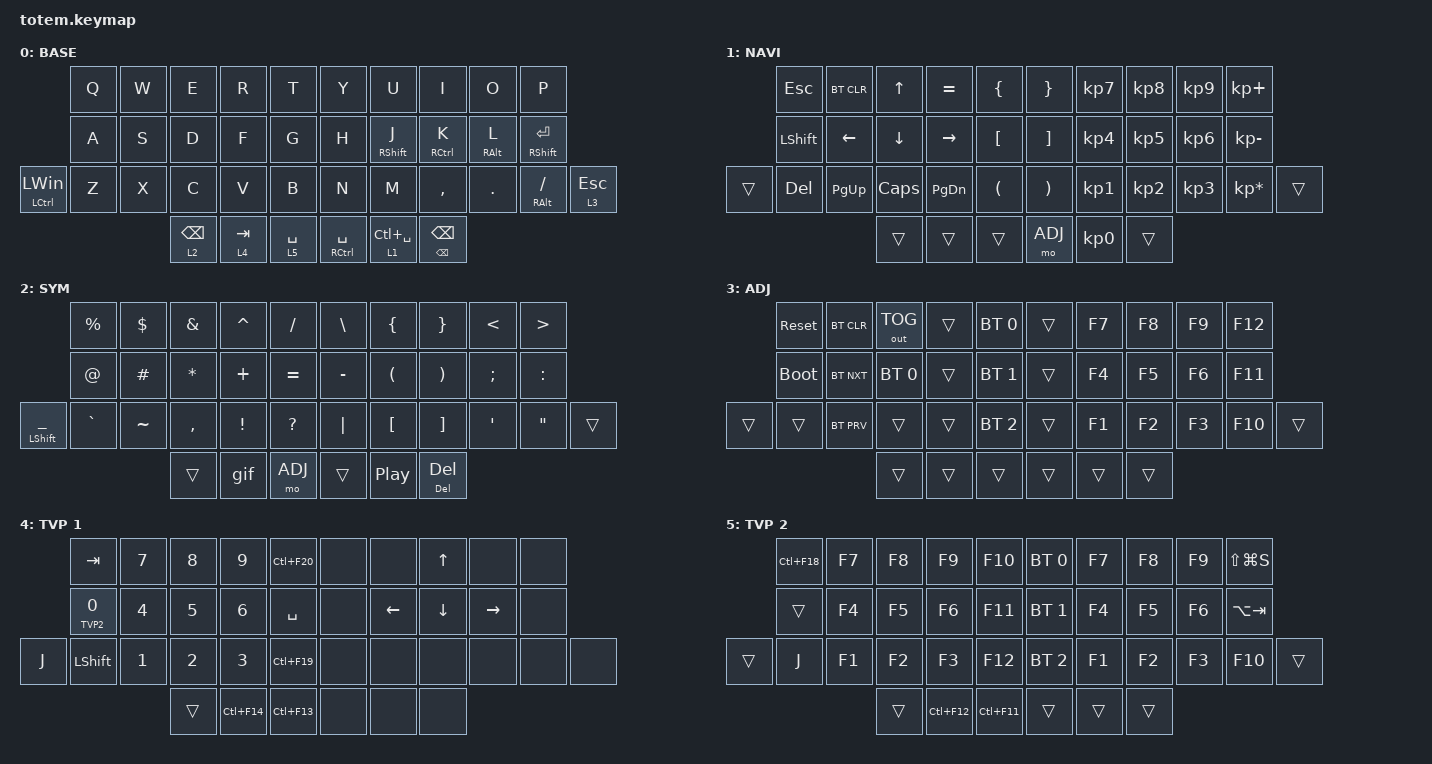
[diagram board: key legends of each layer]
//
//                                                        ▀▀▀▀▀     ▀▀▀▀▀          ▀▀█▀▀
//                                                        ▄▀▀▀▄  ▄  ▄▀▀▀▄  ▄  ▄▀▀▀▄  █  ▄▀▀▀▄
//                                                        █   █  █  █   █  █  █   █  █  █   █
//                                                         ▀▀▀   █   ▀▀▀   █   ▀▀▀   ▀   ▀▀▀
//                                                               █      ▄▄▄█▄▄▄    █   █  
//                                                               ▀      █  █  █     █▄█
//                                                             ▀▀▀▀▀    █  █  █      ▀
//                                                                      ▀  ▀  ▀
//
// ▄▄▄▄▄▄▄▄▄▄▄▄▄▄▄▄▄▄▄▄▄▄▄▄▄▄▄▄▄▄▄▄▄▄▄▄▄▄▄▄▄▄▄▄▄▄▄▄▄▄▄▄▄▄▄▄▄▄▄▄▄▄▄▄▄▄▄▄▄▄▄▄▄▄▄▄▄▄▄▄▄▄▄▄▄▄▄▄▄▄▄▄▄▄▄▄▄▄▄▄▄▄▄▄▄▄▄▄▄▄▄▄▄▄▄▄▄▄▄▄▄▄▄▄▄▄▄▄▄▄▄▄▄▄▄▄▄▄▄▄▄▄▄▄▄▄▄▄▄

#include <behaviors.dtsi>
#include <dt-bindings/zmk/bt.h>
#include <dt-bindings/zmk/keys.h>
#include <dt-bindings/zmk/outputs.h>

#define BASE 0
#define NAV  1
#define SYM  2
#define ADJ  3
#define TVP1 4
#define TVP2 5

&mt {
    quick-tap-ms = <100>;
    global-quick-tap;
    flavor = "tap-preferred";
    tapping-term-ms = <170>;
};

/ {
    combos {
        compatible = "zmk,combos";

        combo_esc {
            timeout-ms = <50>;
            key-positions = <0 1>;
            bindings = <&kp ESC>;
        };

        combo_tvp {
            timeout-ms = <100>;
            key-positions = <11 12 13>;
            bindings = <&tog TVP1>;
        };
    };

    macros {
        gif: gif {
            label = "giphy";
            compatible = "zmk,behavior-macro";
            #binding-cells = <0>;
            bindings =
                <&macro_press>,
                <&kp LSHFT>,
                <&macro_tap>,
                <&kp N2>,
                <&macro_release>,
                <&kp LSHFT>,
                <&macro_tap>,
                <&kp G &kp I &kp F>;
        };
    };

    keymap {
        compatible = "zmk,keymap";

        // ▄▄▄▄▄▄▄▄▄▄▄▄▄▄▄▄▄▄▄▄▄▄▄▄▄▄▄▄▄▄▄▄▄▄▄▄▄▄▄▄▄▄▄▄▄▄▄▄▄▄▄▄▄▄▄▄▄▄▄▄▄▄▄▄▄▄▄▄▄▄▄▄▄▄▄▄▄▄▄▄▄▄▄▄▄▄▄▄▄▄▄▄▄▄▄▄▄▄▄▄▄▄▄▄▄▄▄▄▄▄▄▄▄▄▄▄▄▄▄▄▄▄▄▄▄▄▄▄▄▄▄▄▄▄▄▄▄▄▄▄▄▄▄▄▄▄▄▄▄

        base_layer {
            // ┏━━━━━━━━━━━━━━━━━━━━━━━━━━━━━━━━━━━━━━━┓

            label = "BASE";

            // ┗━━━━━━━━━━━━━━━━━━━━━━━━━━━━━━━━━━━━━━━┛
            //             ┏━━━━━━━━━━━┳━━━━━━━━━━━┳━━━━━━━━━━━┳━━━━━━━━━━━┳━━━━━━━━━━━┓   ┏━━━━━━━━━━━┳━━━━━━━━━━━┳━━━━━━━━━━━┳━━━━━━━━━━━┳━━━━━━━━━━━┓
            //             ┃     Q     ┃     W     ┃     F     ┃     P     ┃     G     ┃   ┃     J     ┃     L     ┃     U     ┃     Y     ┃     ;     ┃
            //             ┣━━━━━━━━━━━╋━━━━━━━━━━━╋━━━━━━━━━━━╋━━━━━━━━━━━╋━━━━━━━━━━━┫   ┣━━━━━━━━━━━╋━━━━━━━━━━━╋━━━━━━━━━━━╋━━━━━━━━━━━╋━━━━━━━━━━━┫
            //             ┃     A     ┃     R     ┃     S     ┃     T     ┃     D     ┃   ┃     H     ┃     N     ┃     E     ┃     I     ┃     O     ┃
            // ┏━━━━━━━━━━━╋━━━━━━━━━━━╋━━━━━━━━━━━╋━━━━━━━━━━━╋━━━━━━━━━━━╋━━━━━━━━━━━┫   ┣━━━━━━━━━━━╋━━━━━━━━━━━╋━━━━━━━━━━━╋━━━━━━━━━━━╋━━━━━━━━━━━╋━━━━━━━━━━━┓
            // ┃     Q     ┃     Z     ┃     X     ┃     C     ┃     V     ┃     B     ┃   ┃     K     ┃     M     ┃     ,     ┃     .     ┃     /     ┃     \     ┃
            // ┗━━━━━━━━━━━┻━━━━━━━━━━━┻━━━━━━━━━━━╋━━━━━━━━━━━╋━━━━━━━━━━━╋━━━━━━━━━━━┫   ┣━━━━━━━━━━━╋━━━━━━━━━━━╋━━━━━━━━━━━╋━━━━━━━━━━━┻━━━━━━━━━━━┻━━━━━━━━━━━┛
            //                                     ┃    DEL    ┃    TAB    ┃    SPC    ┃   ┃   ENTER   ┃           ┃   BSPC    ┃
            //                                     ┗━━━━━━━━━━━┻━━━━━━━━━━━┻━━━━━━━━━━━┛   ┗━━━━━━━━━━━┻━━━━━━━━━━━┻━━━━━━━━━━━┛

            bindings = <
                           &kp Q  &kp W  &kp E            &kp R      &kp T          &kp Y            &kp U            &kp I                    &kp O       &kp P
                           &kp A  &kp S  &kp D            &kp F      &kp G          &kp H            &mt RSHFT J      &mt RCTRL K              &mt RALT L  &mt RIGHT_SHIFT ENTER
&mt LEFT_CONTROL LEFT_WIN  &kp Z  &kp X  &kp C            &kp V      &kp B          &kp N            &kp M            &kp COMMA                &kp DOT     &mt RIGHT_ALT SLASH    &lt 3 ESCAPE
                                         &lt 2 BACKSPACE  &lt 4 TAB  &lt 5 SPACE    &mt RCTRL SPACE  &lt 1 LC(SPACE)  &mt BACKSPACE BACKSPACE
            >;
        };

        // ▄▄▄▄▄▄▄▄▄▄▄▄▄▄▄▄▄▄▄▄▄▄▄▄▄▄▄▄▄▄▄▄▄▄▄▄▄▄▄▄▄▄▄▄▄▄▄▄▄▄▄▄▄▄▄▄▄▄▄▄▄▄▄▄▄▄▄▄▄▄▄▄▄▄▄▄▄▄▄▄▄▄▄▄▄▄▄▄▄▄▄▄▄▄▄▄▄▄▄▄▄▄▄▄▄▄▄▄▄▄▄▄▄▄▄▄▄▄▄▄▄▄▄▄▄▄▄▄▄▄▄▄▄▄▄▄▄▄▄▄▄▄▄▄▄▄▄▄▄

        nav_layer {
            // ┏━━━━━━━━━━━━━━━━━━━━━━━━━━━━━━━━━━━━━━━┓

            label = "NAVI";

            // ┗━━━━━━━━━━━━━━━━━━━━━━━━━━━━━━━━━━━━━━━┛
            //             ┏━━━━━━━━━━━┳━━━━━━━━━━━┳━━━━━━━━━━━┳━━━━━━━━━━━┳━━━━━━━━━━━┓   ┏━━━━━━━━━━━┳━━━━━━━━━━━┳━━━━━━━━━━━┳━━━━━━━━━━━┳━━━━━━━━━━━┓
            //             ┃           ┃           ┃     UP    ┃           ┃     {     ┃   ┃     }     ┃     7     ┃     8     ┃     9     ┃     +     ┃
            //             ┣━━━━━━━━━━━╋━━━━━━━━━━━╋━━━━━━━━━━━╋━━━━━━━━━━━╋━━━━━━━━━━━┫   ┣━━━━━━━━━━━╋━━━━━━━━━━━╋━━━━━━━━━━━╋━━━━━━━━━━━╋━━━━━━━━━━━┫
            //             ┃   SHIFT   ┃   LEFT    ┃    DOWN   ┃   RIGHT   ┃     [     ┃   ┃     ]     ┃     4     ┃     5     ┃     6     ┃     -     ┃
            // ┏━━━━━━━━━━━╋━━━━━━━━━━━╋━━━━━━━━━━━╋━━━━━━━━━━━╋━━━━━━━━━━━╋━━━━━━━━━━━┫   ┣━━━━━━━━━━━╋━━━━━━━━━━━╋━━━━━━━━━━━╋━━━━━━━━━━━╋━━━━━━━━━━━╋━━━━━━━━━━━┓
            // ┃           ┃           ┃   P UP    ┃  C LOCK   ┃  P DOWN   ┃     (     ┃   ┃     )     ┃     1     ┃     2     ┃     3     ┃     *     ┃           ┃
            // ┗━━━━━━━━━━━┻━━━━━━━━━━━┻━━━━━━━━━━━╋━━━━━━━━━━━╋━━━━━━━━━━━╋━━━━━━━━━━━┫   ┣━━━━━━━━━━━╋━━━━━━━━━━━╋━━━━━━━━━━━╋━━━━━━━━━━━┻━━━━━━━━━━━┻━━━━━━━━━━━┛
            //                                     ┃           ┃    TAB    ┃    SPC    ┃   ┃    DEL    ┃     0     ┃           ┃
            //                                     ┗━━━━━━━━━━━┻━━━━━━━━━━━┻━━━━━━━━━━━┛   ┗━━━━━━━━━━━┻━━━━━━━━━━━┻━━━━━━━━━━━┛

            bindings = <
        &kp ESC    &bt BT_CLR  &kp UP    &kp EQUAL  &kp LBRC    &kp RBRC  &kp KP_N7  &kp KP_N8  &kp KP_N9  &kp KP_PLUS
        &kp LSHFT  &kp LEFT    &kp DOWN  &kp RIGHT  &kp LBKT    &kp RBKT  &kp KP_N4  &kp KP_N5  &kp KP_N6  &kp KP_MINUS
&trans  &kp DEL    &kp PG_UP   &kp CAPS  &kp PG_DN  &kp LPAR    &kp RPAR  &kp KP_N1  &kp KP_N2  &kp KP_N3  &kp KP_MULTIPLY  &trans
                               &trans    &trans     &trans      &mo ADJ   &kp KP_N0  &trans
            >;
        };

        // ▄▄▄▄▄▄▄▄▄▄▄▄▄▄▄▄▄▄▄▄▄▄▄▄▄▄▄▄▄▄▄▄▄▄▄▄▄▄▄▄▄▄▄▄▄▄▄▄▄▄▄▄▄▄▄▄▄▄▄▄▄▄▄▄▄▄▄▄▄▄▄▄▄▄▄▄▄▄▄▄▄▄▄▄▄▄▄▄▄▄▄▄▄▄▄▄▄▄▄▄▄▄▄▄▄▄▄▄▄▄▄▄▄▄▄▄▄▄▄▄▄▄▄▄▄▄▄▄▄▄▄▄▄▄▄▄▄▄▄▄▄▄▄▄▄▄▄▄▄

        sim_layer {
            // ┏━━━━━━━━━━━━━━━━━━━━━━━━━━━━━━━━━━━━━━━┓

            label = "SYM";

            // ┗━━━━━━━━━━━━━━━━━━━━━━━━━━━━━━━━━━━━━━━┛
            //             ┏━━━━━━━━━━━┳━━━━━━━━━━━┳━━━━━━━━━━━┳━━━━━━━━━━━┳━━━━━━━━━━━┓   ┏━━━━━━━━━━━┳━━━━━━━━━━━┳━━━━━━━━━━━┳━━━━━━━━━━━┳━━━━━━━━━━━┓
            //             ┃     !     ┃     @     ┃     #     ┃     $     ┃     %     ┃   ┃     ˆ     ┃     &     ┃     Ü     ┃     '     ┃     "     ┃
            //             ┣━━━━━━━━━━━╋━━━━━━━━━━━╋━━━━━━━━━━━╋━━━━━━━━━━━╋━━━━━━━━━━━┫   ┣━━━━━━━━━━━╋━━━━━━━━━━━╋━━━━━━━━━━━╋━━━━━━━━━━━╋━━━━━━━━━━━┫
            //             ┃     Ä     ┃           ┃    SZ     ┃           ┃           ┃   ┃   MUTE    ┃   YEN     ┃   EURO    ┃  POUND    ┃     Ö     ┃
            // ┏━━━━━━━━━━━╋━━━━━━━━━━━╋━━━━━━━━━━━╋━━━━━━━━━━━╋━━━━━━━━━━━╋━━━━━━━━━━━┫   ┣━━━━━━━━━━━╋━━━━━━━━━━━╋━━━━━━━━━━━╋━━━━━━━━━━━╋━━━━━━━━━━━╋━━━━━━━━━━━┓
            // ┃           ┃  EMAIL1   ┃  EMAIL2   ┃           ┃           ┃           ┃   ┃   VOL-    ┃   VOL+    ┃   LAST    ┃   NEXT    ┃     \     ┃           ┃
            // ┗━━━━━━━━━━━┻━━━━━━━━━━━┻━━━━━━━━━━━╋━━━━━━━━━━━╋━━━━━━━━━━━╋━━━━━━━━━━━┫   ┣━━━━━━━━━━━╋━━━━━━━━━━━╋━━━━━━━━━━━╋━━━━━━━━━━━┻━━━━━━━━━━━┻━━━━━━━━━━━┛
            //                                     ┃           ┃    GIF    ┃    ADJ    ┃   ┃           ┃           ┃           ┃
            //                                     ┗━━━━━━━━━━━┻━━━━━━━━━━━┻━━━━━━━━━━━┛   ┗━━━━━━━━━━━┻━━━━━━━━━━━┻━━━━━━━━━━━┛

            bindings = <
                           &kp PERCENT  &kp DOLLAR  &kp AMPERSAND  &kp CARET        &kp SLASH       &kp BACKSLASH  &kp LEFT_BRACE        &kp RIGHT_BRACE        &kp LESS_THAN  &kp GREATER_THAN
                           &kp AT_SIGN  &kp HASH    &kp ASTERISK   &kp PLUS         &kp EQUAL       &kp MINUS      &kp LEFT_PARENTHESIS  &kp RIGHT_PARENTHESIS  &kp SEMICOLON  &kp COLON
&mt LEFT_SHIFT UNDERSCORE  &kp GRAVE    &kp TILDE   &kp COMMA      &kp EXCLAMATION  &kp QUESTION    &kp PIPE       &kp LEFT_BRACKET      &kp RIGHT_BRACKET      &kp SQT        &kp DOUBLE_QUOTES  &trans
                                                    &trans         &gif             &mo ADJ         &trans         &kp C_PP              &mt DELETE DEL
            >;
        };

        // ▄▄▄▄▄▄▄▄▄▄▄▄▄▄▄▄▄▄▄▄▄▄▄▄▄▄▄▄▄▄▄▄▄▄▄▄▄▄▄▄▄▄▄▄▄▄▄▄▄▄▄▄▄▄▄▄▄▄▄▄▄▄▄▄▄▄▄▄▄▄▄▄▄▄▄▄▄▄▄▄▄▄▄▄▄▄▄▄▄▄▄▄▄▄▄▄▄▄▄▄▄▄▄▄▄▄▄▄▄▄▄▄▄▄▄▄▄▄▄▄▄▄▄▄▄▄▄▄▄▄▄▄▄▄▄▄▄▄▄▄▄▄▄▄▄▄▄▄▄

        adjust_layer {
            // ┏━━━━━━━━━━━━━━━━━━━━━━━━━━━━━━━━━━━━━━━┓

            label = "ADJ";

            // ┗━━━━━━━━━━━━━━━━━━━━━━━━━━━━━━━━━━━━━━━┛
            //             ┏━━━━━━━━━━━┳━━━━━━━━━━━┳━━━━━━━━━━━┳━━━━━━━━━━━┳━━━━━━━━━━━┓   ┏━━━━━━━━━━━┳━━━━━━━━━━━┳━━━━━━━━━━━┳━━━━━━━━━━━┳━━━━━━━━━━━┓
            //             ┃   RESET   ┃ BT CLEAR  ┃  OUT TOG  ┃           ┃           ┃   ┃           ┃    F7     ┃    F8     ┃    F9     ┃    F12    ┃
            //             ┣━━━━━━━━━━━╋━━━━━━━━━━━╋━━━━━━━━━━━╋━━━━━━━━━━━╋━━━━━━━━━━━┫   ┣━━━━━━━━━━━╋━━━━━━━━━━━╋━━━━━━━━━━━╋━━━━━━━━━━━╋━━━━━━━━━━━┫
            //             ┃ BOOTLOAD  ┃ BT NEXT   ┃           ┃           ┃           ┃   ┃           ┃    F4     ┃    F5     ┃    F6     ┃    F11    ┃
            // ┏━━━━━━━━━━━╋━━━━━━━━━━━╋━━━━━━━━━━━╋━━━━━━━━━━━╋━━━━━━━━━━━╋━━━━━━━━━━━┫   ┣━━━━━━━━━━━╋━━━━━━━━━━━╋━━━━━━━━━━━╋━━━━━━━━━━━╋━━━━━━━━━━━╋━━━━━━━━━━━┓
            // ┃           ┃           ┃ BT PREV   ┃           ┃           ┃           ┃   ┃           ┃    F1     ┃    F2     ┃    F3     ┃    F10    ┃           ┃
            // ┗━━━━━━━━━━━┻━━━━━━━━━━━┻━━━━━━━━━━━╋━━━━━━━━━━━╋━━━━━━━━━━━╋━━━━━━━━━━━┫   ┣━━━━━━━━━━━╋━━━━━━━━━━━╋━━━━━━━━━━━╋━━━━━━━━━━━┻━━━━━━━━━━━┻━━━━━━━━━━━┛
            //                                     ┃           ┃           ┃           ┃   ┃           ┃           ┃           ┃
            //                                     ┗━━━━━━━━━━━┻━━━━━━━━━━━┻━━━━━━━━━━━┛   ┗━━━━━━━━━━━┻━━━━━━━━━━━┻━━━━━━━━━━━┛

            bindings = <
        &sys_reset   &bt BT_CLR  &out OUT_TOG  &trans  &bt BT_SEL 0    &trans  &kp F7  &kp F8  &kp F9  &kp F12
        &bootloader  &bt BT_NXT  &bt BT_SEL 0  &trans  &bt BT_SEL 1    &trans  &kp F4  &kp F5  &kp F6  &kp F11
&trans  &trans       &bt BT_PRV  &trans        &trans  &bt BT_SEL 2    &trans  &kp F1  &kp F2  &kp F3  &kp F10  &trans
                                 &trans        &trans  &trans          &trans  &trans  &trans
            >;
        };

        // ▄▄▄▄▄▄▄▄▄▄▄▄▄▄▄▄▄▄▄▄▄▄▄▄▄▄▄▄▄▄▄▄▄▄▄▄▄▄▄▄▄▄▄▄▄▄▄▄▄▄▄▄▄▄▄▄▄▄▄▄▄▄▄▄▄▄▄▄▄▄▄▄▄▄▄▄▄▄▄▄▄▄▄▄▄▄▄▄▄▄▄▄▄▄▄▄▄▄▄▄▄▄▄▄▄▄▄▄▄▄▄▄▄▄▄▄▄▄▄▄▄▄▄▄▄▄▄▄▄▄▄▄▄▄▄▄▄▄▄▄▄▄▄▄▄▄▄▄▄

        tvp1_layer {
            // ┏━━━━━━━━━━━━━━━━━━━━━━━━━━━━━━━━━━━━━━━┓

            label = "TVP 1";

            // ┗━━━━━━━━━━━━━━━━━━━━━━━━━━━━━━━━━━━━━━━┛
            //             ┏━━━━━━━━━━━┳━━━━━━━━━━━┳━━━━━━━━━━━┳━━━━━━━━━━━┳━━━━━━━━━━━┓   ┏━━━━━━━━━━━┳━━━━━━━━━━━┳━━━━━━━━━━━┳━━━━━━━━━━━┳━━━━━━━━━━━┓
            //             ┃ NEXT FILE ┃ MARK IN   ┃ ROTATE    ┃ MARK OUT  ┃ SHOW SNAP ┃   ┃           ┃           ┃           ┃           ┃           ┃
            //             ┣━━━━━━━━━━━╋━━━━━━━━━━━╋━━━━━━━━━━━╋━━━━━━━━━━━╋━━━━━━━━━━━┫   ┣━━━━━━━━━━━╋━━━━━━━━━━━╋━━━━━━━━━━━╋━━━━━━━━━━━╋━━━━━━━━━━━┫
            //             ┃ TVP II    ┃ LEFT      ┃ PAN       ┃ RIGHT     ┃ PLAY/FLIP ┃   ┃           ┃           ┃           ┃           ┃           ┃
            // ┏━━━━━━━━━━━╋━━━━━━━━━━━╋━━━━━━━━━━━╋━━━━━━━━━━━╋━━━━━━━━━━━╋━━━━━━━━━━━┫   ┣━━━━━━━━━━━╋━━━━━━━━━━━╋━━━━━━━━━━━╋━━━━━━━━━━━╋━━━━━━━━━━━╋━━━━━━━━━━━┓
            // ┃ FULLSCR   ┃ SHIFT     ┃ COPY      ┃ DELETE    ┃ PASTE     ┃ IMG MARK  ┃   ┃           ┃           ┃           ┃           ┃           ┃           ┃
            // ┗━━━━━━━━━━━┻━━━━━━━━━━━┻━━━━━━━━━━━╋━━━━━━━━━━━╋━━━━━━━━━━━╋━━━━━━━━━━━┫   ┣━━━━━━━━━━━╋━━━━━━━━━━━╋━━━━━━━━━━━╋━━━━━━━━━━━┻━━━━━━━━━━━┻━━━━━━━━━━━┛
            //                                     ┃           ┃ UNDO/SAVE ┃  SEL/MOV  ┃   ┃           ┃           ┃           ┃
            //                                     ┗━━━━━━━━━━━┻━━━━━━━━━━━┻━━━━━━━━━━━┛   ┗━━━━━━━━━━━┻━━━━━━━━━━━┻━━━━━━━━━━━┛

            bindings = <
       &kp TAB      &kp N7        &kp N8        &kp N9        &kp LC(F20)    &none  &none     &kp UP_ARROW  &none      &none
       &lt TVP2 N0  &kp NUMBER_4  &kp N5        &kp NUMBER_6  &kp SPACE      &none  &kp LEFT  &kp DOWN      &kp RIGHT  &none
&kp J  &kp LSHFT    &kp N1        &kp NUMBER_2  &kp NUMBER_3  &kp LC(F19)    &none  &none     &none         &none      &none  &none
                                  &trans        &kp LC(F14)   &kp LC(F13)    &none  &none     &none
            >;
        };

        // ▄▄▄▄▄▄▄▄▄▄▄▄▄▄▄▄▄▄▄▄▄▄▄▄▄▄▄▄▄▄▄▄▄▄▄▄▄▄▄▄▄▄▄▄▄▄▄▄▄▄▄▄▄▄▄▄▄▄▄▄▄▄▄▄▄▄▄▄▄▄▄▄▄▄▄▄▄▄▄▄▄▄▄▄▄▄▄▄▄▄▄▄▄▄▄▄▄▄▄▄▄▄▄▄▄▄▄▄▄▄▄▄▄▄▄▄▄▄▄▄▄▄▄▄▄▄▄▄▄▄▄▄▄▄▄▄▄▄▄▄▄▄▄▄▄▄▄▄▄

        tvp2_layer {
            // ┏━━━━━━━━━━━━━━━━━━━━━━━━━━━━━━━━━━━━━━━┓

            label = "TVP 2";

            // ┗━━━━━━━━━━━━━━━━━━━━━━━━━━━━━━━━━━━━━━━┛
            //             ┏━━━━━━━━━━━┳━━━━━━━━━━━┳━━━━━━━━━━━┳━━━━━━━━━━━┳━━━━━━━━━━━┓   ┏━━━━━━━━━━━┳━━━━━━━━━━━┳━━━━━━━━━━━┳━━━━━━━━━━━┳━━━━━━━━━━━┓
            //             ┃ SOLO      ┃ TOGGLE IN ┃ RESET ROT ┃ TOGGLE OUT┃ TAKE SNAP ┃   ┃           ┃           ┃           ┃           ┃           ┃
            //             ┣━━━━━━━━━━━╋━━━━━━━━━━━╋━━━━━━━━━━━╋━━━━━━━━━━━╋━━━━━━━━━━━┫   ┣━━━━━━━━━━━╋━━━━━━━━━━━╋━━━━━━━━━━━╋━━━━━━━━━━━╋━━━━━━━━━━━┫
            //             ┃ ---       ┃ LAST KEY  ┃ NEW KEY   ┃ NEXT KEY  ┃ ENTER     ┃   ┃           ┃           ┃           ┃           ┃           ┃
            // ┏━━━━━━━━━━━╋━━━━━━━━━━━╋━━━━━━━━━━━╋━━━━━━━━━━━╋━━━━━━━━━━━╋━━━━━━━━━━━┫   ┣━━━━━━━━━━━╋━━━━━━━━━━━╋━━━━━━━━━━━╋━━━━━━━━━━━╋━━━━━━━━━━━╋━━━━━━━━━━━┓
            // ┃           ┃ FULLSCR   ┃ CPY2BRUSH ┃ DEL HEAD  ┃ PSTinPLACE┃ BOOK MARK ┃   ┃           ┃           ┃           ┃           ┃           ┃           ┃
            // ┗━━━━━━━━━━━┻━━━━━━━━━━━┻━━━━━━━━━━━╋━━━━━━━━━━━╋━━━━━━━━━━━╋━━━━━━━━━━━┫   ┣━━━━━━━━━━━╋━━━━━━━━━━━╋━━━━━━━━━━━╋━━━━━━━━━━━┻━━━━━━━━━━━┻━━━━━━━━━━━┛
            //                                     ┃           ┃ REDO/SAV1 ┃TRANS/WARP ┃   ┃           ┃           ┃           ┃
            //                                     ┗━━━━━━━━━━━┻━━━━━━━━━━━┻━━━━━━━━━━━┛   ┗━━━━━━━━━━━┻━━━━━━━━━━━┻━━━━━━━━━━━┛

            bindings = <
        &kp LC(F18)  &kp F7  &kp F8  &kp F9       &kp F10        &bt BT_SEL 0  &kp F7  &kp F8  &kp F9  &kp LS(LG(S))
        &trans       &kp F4  &kp F5  &kp F6       &kp F11        &bt BT_SEL 1  &kp F4  &kp F5  &kp F6  &kp LA(TAB)
&trans  &kp J        &kp F1  &kp F2  &kp F3       &kp F12        &bt BT_SEL 2  &kp F1  &kp F2  &kp F3  &kp F10        &trans
                             &trans  &kp LC(F12)  &kp LC(F11)    &trans        &trans  &trans
            >;
        };
    };
};
